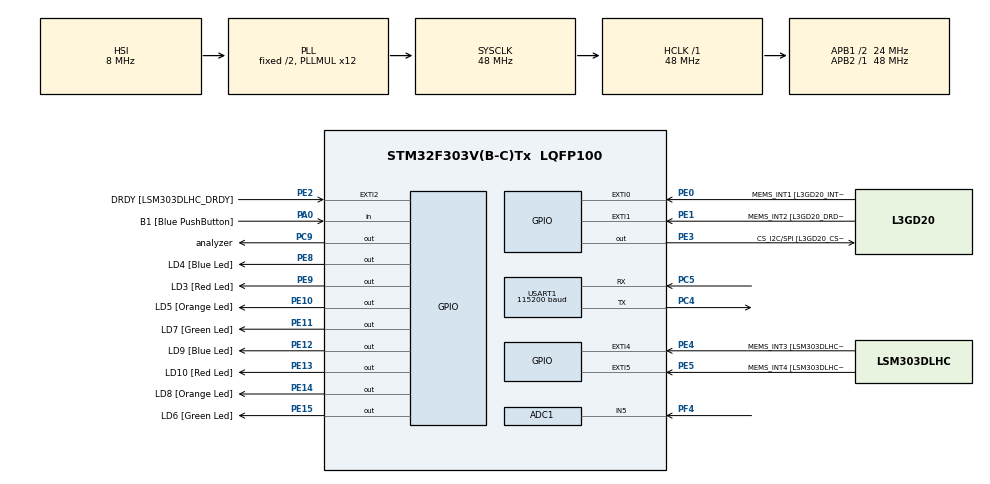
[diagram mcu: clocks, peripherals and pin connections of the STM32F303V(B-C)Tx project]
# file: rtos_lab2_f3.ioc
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ADC1.Channel-0\#ChannelRegularConversion=ADC_CHANNEL_TEMPSENSOR
ADC1.Channel-1\#ChannelRegularConversion=ADC_CHANNEL_5
ADC1.ContinuousConvMode=DISABLE
ADC1.DiscontinuousConvMode=DISABLE
ADC1.NbrOfConversion=2
ADC1.NbrOfConversionFlag=1
ADC1.Offset-0\#ChannelRegularConversion=0
ADC1.Offset-1\#ChannelRegularConversion=0
ADC1.OffsetNumber-0\#ChannelRegularConversion=ADC_OFFSET_NONE
ADC1.OffsetNumber-1\#ChannelRegularConversion=ADC_OFFSET_NONE
ADC1.Rank-0\#ChannelRegularConversion=1
ADC1.Rank-1\#ChannelRegularConversion=2
ADC1.SamplingTime-0\#ChannelRegularConversion=ADC_SAMPLETIME_2CYCLES_5
ADC1.SamplingTime-1\#ChannelRegularConversion=ADC_SAMPLETIME_2CYCLES_5
ADC1.SamplingTimeOPAMP-1\#ChannelRegularConversion=ADC_SAMPLETIME_19CYCLES_5
ADC1.master=1
FREERTOS.Queues01=dataQueue,10,uint32_t,0,Dynamic,NULL,NULL;UART_queue,10,uint32_t,0,Dynamic,NULL,NULL
FREERTOS.Tasks01=defaultTask,24,128,StartDefaultTask,Default,NULL,Dynamic,NULL,NULL;dataTask,24,128,StartDataTask,Default,NULL,Dynamic,NULL,NULL;UART_task,24,128,StartUART_task,Default,NULL,Dynamic,NULL,NULL
FREERTOS.Timers01=ADCTimer,Callback_ADCTimer,osTimerPeriodic,Default,NULL,Dynamic,NULL
Mcu.Family=STM32F3
Mcu.Name=STM32F303V(B-C)Tx
Mcu.Package=LQFP100
NVIC.PriorityGroup=NVIC_PRIORITYGROUP_4
NVIC.TIM1_UP_TIM16_IRQn=true\:15\:0\:false\:false\:true\:false\:false\:true\:true
NVIC.TimeBase=TIM1_UP_TIM16_IRQn
NVIC.TimeBaseIP=TIM1
PA0.GPIO_Label=B1 [Blue PushButton]
PA0.GPIO_Mode=GPIO_MODE_INPUT
PA0.GPIO_PuPd=GPIO_NOPULL
PA0.Signal=GPIO_Input
PA11.GPIO_Label=DM
PA11.Signal=USB_DM
PA12.GPIO_Label=DP
PA12.Signal=USB_DP
PA13.GPIO_Label=SWDIO
PA13.Signal=SYS_JTMS-SWDIO
PA14.GPIO_Label=SWCLK
PA14.Signal=SYS_JTCK-SWCLK
PA5.GPIO_Label=SPI1_SCK [L3GD20_SCL/SPC]
PA5.GPIO_Mode=GPIO_MODE_AF_PP
PA5.GPIO_PuPd=GPIO_NOPULL
PA5.GPIO_Speed=GPIO_SPEED_FREQ_LOW
PA5.Signal=SPI1_SCK
PA6.GPIO_Label=SPI1_MISO [L3GD20_SA0/SDO]
PA6.GPIO_Mode=GPIO_MODE_AF_PP
PA6.GPIO_PuPd=GPIO_NOPULL
PA6.GPIO_Speed=GPIO_SPEED_FREQ_LOW
PA6.Signal=SPI1_MISO
PA7.GPIO_Label=SPI1_MISO [L3GD20_SDA/SDI/SDO]
PA7.GPIO_Mode=GPIO_MODE_AF_PP
PA7.GPIO_PuPd=GPIO_NOPULL
PA7.GPIO_Speed=GPIO_SPEED_FREQ_LOW
PA7.Signal=SPI1_MOSI
PB3.GPIO_Label=SWO
PB3.Signal=SYS_JTDO-TRACESWO
PB6.GPIO_FM6=__NULL
PB6.GPIO_Label=I2C1_SCL [LSM303DLHC_SCL]
PB6.GPIO_Mode=GPIO_MODE_AF_OD
PB6.GPIO_PuPd=GPIO_NOPULL
PB6.GPIO_Speed=GPIO_SPEED_FREQ_LOW
PB6.Signal=I2C1_SCL
PB7.GPIO_FM7=__NULL
PB7.GPIO_Label=I2C1_SDA [LSM303DLHC_SDA]
PB7.GPIO_Mode=GPIO_MODE_AF_OD
PB7.GPIO_PuPd=GPIO_NOPULL
PB7.GPIO_Speed=GPIO_SPEED_FREQ_LOW
PB7.Signal=I2C1_SDA
PC14-OSC32_IN.GPIO_Label=OSC32_IN
PC14-OSC32_IN.Signal=RCC_OSC32_IN
PC15-OSC32_OUT.GPIO_Label=OSC32_OUT
PC15-OSC32_OUT.Signal=RCC_OSC32_OUT
PC4.Mode=Asynchronous
PC4.Signal=USART1_TX
PC5.Mode=Asynchronous
PC5.Signal=USART1_RX
PC9.GPIO_Label=analyzer
PC9.Signal=GPIO_Output
PE0.GPIO_Label=MEMS_INT1 [L3GD20_INT1]
PE0.GPIO_ModeDefaultEXTI=GPIO_MODE_EVT_RISING
PE0.GPIO_PuPd=GPIO_NOPULL
PE0.Signal=GPXTI0
PE1.GPIO_Label=MEMS_INT2 [L3GD20_DRDY/INT2]
PE1.GPIO_ModeDefaultEXTI=GPIO_MODE_EVT_RISING
PE1.GPIO_PuPd=GPIO_NOPULL
PE1.Signal=GPXTI1
PE10.GPIO_Label=LD5 [Orange Led]
PE10.GPIO_ModeDefaultOutputPP=GPIO_MODE_OUTPUT_PP
PE10.GPIO_PuPd=GPIO_NOPULL
PE10.GPIO_Speed=GPIO_SPEED_FREQ_LOW
PE10.Signal=GPIO_Output
PE11.GPIO_Label=LD7 [Green Led]
PE11.GPIO_ModeDefaultOutputPP=GPIO_MODE_OUTPUT_PP
PE11.GPIO_PuPd=GPIO_NOPULL
PE11.GPIO_Speed=GPIO_SPEED_FREQ_LOW
PE11.Signal=GPIO_Output
PE12.GPIO_Label=LD9 [Blue Led]
PE12.GPIO_ModeDefaultOutputPP=GPIO_MODE_OUTPUT_PP
PE12.GPIO_PuPd=GPIO_NOPULL
PE12.GPIO_Speed=GPIO_SPEED_FREQ_LOW
PE12.Signal=GPIO_Output
PE13.GPIO_Label=LD10 [Red Led]
PE13.GPIO_ModeDefaultOutputPP=GPIO_MODE_OUTPUT_PP
PE13.GPIO_PuPd=GPIO_NOPULL
PE13.GPIO_Speed=GPIO_SPEED_FREQ_LOW
PE13.Signal=GPIO_Output
PE14.GPIO_Label=LD8 [Orange Led]
PE14.GPIO_ModeDefaultOutputPP=GPIO_MODE_OUTPUT_PP
PE14.GPIO_PuPd=GPIO_NOPULL
PE14.GPIO_Speed=GPIO_SPEED_FREQ_LOW
PE14.Signal=GPIO_Output
PE15.GPIO_Label=LD6 [Green Led]
PE15.GPIO_ModeDefaultOutputPP=GPIO_MODE_OUTPUT_PP
PE15.GPIO_PuPd=GPIO_NOPULL
PE15.GPIO_Speed=GPIO_SPEED_FREQ_LOW
PE15.Signal=GPIO_Output
PE2.GPIO_Label=DRDY [LSM303DLHC_DRDY]
PE2.GPIO_ModeDefaultEXTI=GPIO_MODE_EVT_RISING
PE2.GPIO_PuPd=GPIO_NOPULL
PE2.Signal=GPXTI2
PE3.GPIO_Label=CS_I2C/SPI [L3GD20_CS_I2C/SPI]
PE3.GPIO_ModeDefaultOutputPP=GPIO_MODE_OUTPUT_PP
PE3.GPIO_PuPd=GPIO_NOPULL
PE3.GPIO_Speed=GPIO_SPEED_FREQ_LOW
PE3.Signal=GPIO_Output
PE4.GPIO_Label=MEMS_INT3 [LSM303DLHC_INT1]
PE4.GPIO_ModeDefaultEXTI=GPIO_MODE_EVT_RISING
PE4.GPIO_PuPd=GPIO_NOPULL
PE4.Signal=GPXTI4
PE5.GPIO_Label=MEMS_INT4 [LSM303DLHC_INT2]
PE5.GPIO_ModeDefaultEXTI=GPIO_MODE_EVT_RISING
PE5.GPIO_PuPd=GPIO_NOPULL
PE5.Signal=GPXTI5
PE8.GPIO_Label=LD4 [Blue Led]
PE8.GPIO_ModeDefaultOutputPP=GPIO_MODE_OUTPUT_PP
PE8.GPIO_PuPd=GPIO_NOPULL
PE8.GPIO_Speed=GPIO_SPEED_FREQ_LOW
PE8.Signal=GPIO_Output
PE9.GPIO_Label=LD3 [Red Led]
PE9.GPIO_ModeDefaultOutputPP=GPIO_MODE_OUTPUT_PP
PE9.GPIO_PuPd=GPIO_NOPULL
PE9.GPIO_Speed=GPIO_SPEED_FREQ_LOW
PE9.Signal=GPIO_Output
PF0-OSC_IN.GPIO_Label=OSC_IN
PF0-OSC_IN.Signal=RCC_OSC_IN
PF1-OSC_OUT.GPIO_Label=OSC_OUT
PF1-OSC_OUT.Signal=RCC_OSC_OUT
PF4.Mode=IN5-Single-Ended
PF4.Signal=ADC1_IN5
ProjectManager.HeapSize=0x200
ProjectManager.StackSize=0x400
ProjectManager.TargetToolchain=STM32CubeIDE
RCC.AHBFreq_Value=48000000
RCC.APB1CLKDivider=RCC_HCLK_DIV2
RCC.APB1Freq_Value=24000000
RCC.APB1TimFreq_Value=48000000
RCC.APB2Freq_Value=48000000
RCC.APB2TimFreq_Value=48000000
RCC.CortexFreq_Value=48000000
RCC.HCLKFreq_Value=48000000
RCC.HSE_VALUE=8000000
RCC.HSI_VALUE=8000000
RCC.LSE_VALUE=32768
RCC.PLLMUL=RCC_PLL_MUL12
RCC.SYSCLKFreq_VALUE=48000000
RCC.SYSCLKSourceVirtual=RCC_SYSCLKSOURCE_PLLCLK
RCC.USBFreq_Value=48000000
STMicroelectronics.X-CUBE-ALGOBUILD.1.3.0.LibraryCcDSPOoLibraryJjDSPOoLibrary=true
USART1.BaudRate=115200
USART1.VirtualMode-Asynchronous=VM_ASYNC
VP_ADC1_TempSens_Input.Mode=IN-TempSens
VP_FREERTOS_VS_CMSIS_V2.Mode=CMSIS_V2
VP_STMicroelectronics.X-CUBE-ALGOBUILD_VS_DSPOoLibraryJjLibrary_1.3.0_1.3.0.Mode=DSPOoLibraryJjLibrary
VP_SYS_VS_tim1.Mode=TIM1
board=STM32F3DISCOVERY

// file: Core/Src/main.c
/* USER CODE BEGIN Header */
/**
  ******************************************************************************
  * @file           : main.c
  * @brief          : Main program body
  ******************************************************************************
  * @attention
  *
  * Copyright (c) 2023 STMicroelectronics.
  * All rights reserved.
  *
  * This software is licensed under terms that can be found in the LICENSE file
  * in the root directory of this software component.
  * If no LICENSE file comes with this software, it is provided AS-IS.
  *
  ******************************************************************************
  */
/* USER CODE END Header */
#include "main.h"
#include "cmsis_os.h"
#include "adc.h"
#include "usart.h"
#include "gpio.h"

void SystemClock_Config(void);
void MX_FREERTOS_Init(void);

/* USER CODE BEGIN 0 */
#ifdef __GNUC__
#define PUTCHAR_PROTOTYPE int __io_putchar(int ch)
#else
#define PUTCHAR_PROTOTYPE int fputc(int ch, FILE *f)
#endif

PUTCHAR_PROTOTYPE
{
  HAL_UART_Transmit(&huart1, (uint8_t *)&ch, 1, 10);
  return ch;
}
/* USER CODE END 0 */

int main(void)
{

  /* MCU Configuration--------------------------------------------------------*/

  /* Reset of all peripherals, Initializes the Flash interface and the Systick. */
  HAL_Init();

  /* Configure the system clock */
  SystemClock_Config();

  /* Initialize all configured peripherals */
  MX_GPIO_Init();
  MX_ADC1_Init();
  MX_USART1_UART_Init();

  /* Init scheduler */
  osKernelInitialize();  /* Call init function for freertos objects (in freertos.c) */
  MX_FREERTOS_Init();

  /* Start scheduler */
  osKernelStart();

  /* We should never get here as control is now taken by the scheduler */
  /* Infinite loop */
  while (1)
  {

  }
}

void SystemClock_Config(void)
{
  RCC_OscInitTypeDef RCC_OscInitStruct = {0};
  RCC_ClkInitTypeDef RCC_ClkInitStruct = {0};
  RCC_PeriphCLKInitTypeDef PeriphClkInit = {0};

  /** Initializes the RCC Oscillators according to the specified parameters
  * in the RCC_OscInitTypeDef structure.
  */
  RCC_OscInitStruct.OscillatorType = RCC_OSCILLATORTYPE_HSI;
  RCC_OscInitStruct.HSIState = RCC_HSI_ON;
  RCC_OscInitStruct.HSICalibrationValue = RCC_HSICALIBRATION_DEFAULT;
  RCC_OscInitStruct.PLL.PLLState = RCC_PLL_ON;
  RCC_OscInitStruct.PLL.PLLSource = RCC_PLLSOURCE_HSI;
  RCC_OscInitStruct.PLL.PLLMUL = RCC_PLL_MUL12;
  if (HAL_RCC_OscConfig(&RCC_OscInitStruct) != HAL_OK)
  {
    Error_Handler();
  }

  /** Initializes the CPU, AHB and APB buses clocks
  */
  RCC_ClkInitStruct.ClockType = RCC_CLOCKTYPE_HCLK|RCC_CLOCKTYPE_SYSCLK
                              |RCC_CLOCKTYPE_PCLK1|RCC_CLOCKTYPE_PCLK2;
  RCC_ClkInitStruct.SYSCLKSource = RCC_SYSCLKSOURCE_PLLCLK;
  RCC_ClkInitStruct.AHBCLKDivider = RCC_SYSCLK_DIV1;
  RCC_ClkInitStruct.APB1CLKDivider = RCC_HCLK_DIV2;
  RCC_ClkInitStruct.APB2CLKDivider = RCC_HCLK_DIV1;

  if (HAL_RCC_ClockConfig(&RCC_ClkInitStruct, FLASH_LATENCY_1) != HAL_OK)
  {
    Error_Handler();
  }
  PeriphClkInit.PeriphClockSelection = RCC_PERIPHCLK_USART1|RCC_PERIPHCLK_ADC12;
  PeriphClkInit.Usart1ClockSelection = RCC_USART1CLKSOURCE_PCLK2;
  PeriphClkInit.Adc12ClockSelection = RCC_ADC12PLLCLK_DIV1;
  if (HAL_RCCEx_PeriphCLKConfig(&PeriphClkInit) != HAL_OK)
  {
    Error_Handler();
  }
}

void HAL_TIM_PeriodElapsedCallback(TIM_HandleTypeDef *htim)
{
  if (htim->Instance == TIM1) {
    HAL_IncTick();
  }
}

void Error_Handler(void)
{
  __disable_irq();
  while (1)
  {
  }
}

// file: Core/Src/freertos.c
/* USER CODE BEGIN Header */
/**
  ******************************************************************************
  * File Name          : freertos.c
  * Description        : Code for freertos applications
  ******************************************************************************
  * @attention
  *
  * Copyright (c) 2023 STMicroelectronics.
  * All rights reserved.
  *
  * This software is licensed under terms that can be found in the LICENSE file
  * in the root directory of this software component.
  * If no LICENSE file comes with this software, it is provided AS-IS.
  *
  ******************************************************************************
  */
/* USER CODE END Header */

#include "FreeRTOS.h"
#include "task.h"
#include "main.h"
#include "cmsis_os.h"

/* USER CODE BEGIN Includes */
#include "adc.h"
/* USER CODE END Includes */

/* USER CODE BEGIN Variables */
dataStruct measuredData;
dataStruct rcvMessage;
uint16_t average;
/* USER CODE END Variables */
/* Definitions for defaultTask */
osThreadId_t defaultTaskHandle;
const osThreadAttr_t defaultTask_attributes = {
  .name = "defaultTask",
  .stack_size = 128 * 4,
  .priority = (osPriority_t) osPriorityNormal,
};
/* Definitions for dataTask */
osThreadId_t dataTaskHandle;
const osThreadAttr_t dataTask_attributes = {
  .name = "dataTask",
  .stack_size = 128 * 4,
  .priority = (osPriority_t) osPriorityNormal,
};
/* Definitions for UART_task */
osThreadId_t UART_taskHandle;
const osThreadAttr_t UART_task_attributes = {
  .name = "UART_task",
  .stack_size = 128 * 4,
  .priority = (osPriority_t) osPriorityNormal,
};
/* Definitions for dataQueue */
osMessageQueueId_t dataQueueHandle;
const osMessageQueueAttr_t dataQueue_attributes = {
  .name = "dataQueue"
};
/* Definitions for UART_queue */
osMessageQueueId_t UART_queueHandle;
const osMessageQueueAttr_t UART_queue_attributes = {
  .name = "UART_queue"
};
/* Definitions for ADCTimer */
osTimerId_t ADCTimerHandle;
const osTimerAttr_t ADCTimer_attributes = {
  .name = "ADCTimer"
};

void StartDefaultTask(void *argument);
void StartDataTask(void *argument);
void StartUART_task(void *argument);
void Callback_ADCTimer(void *argument);

void MX_FREERTOS_Init(void); /* (MISRA C 2004 rule 8.1) */

void MX_FREERTOS_Init(void) {

  /* Create the timer(s) */
  /* creation of ADCTimer */
  ADCTimerHandle = osTimerNew(Callback_ADCTimer, osTimerPeriodic, NULL, &ADCTimer_attributes);

  /* USER CODE BEGIN RTOS_TIMERS */
  /* start timers, add new ones, ... */
  osTimerStart(ADCTimerHandle, 1000);
  /* USER CODE END RTOS_TIMERS */

  /* Create the queue(s) */
  /* creation of dataQueue */
  dataQueueHandle = osMessageQueueNew (10, sizeof(uint32_t), &dataQueue_attributes);

  /* creation of UART_queue */
  UART_queueHandle = osMessageQueueNew (10, sizeof(uint32_t), &UART_queue_attributes);

  /* Create the thread(s) */
  /* creation of defaultTask */
  defaultTaskHandle = osThreadNew(StartDefaultTask, NULL, &defaultTask_attributes);

  /* creation of dataTask */
  dataTaskHandle = osThreadNew(StartDataTask, NULL, &dataTask_attributes);

  /* creation of UART_task */
  UART_taskHandle = osThreadNew(StartUART_task, NULL, &UART_task_attributes);

}

void StartDefaultTask(void *argument)
{
  for(;;)
  {
    osDelay(1);
  }
}

void StartDataTask(void *argument)
{
  /* USER CODE BEGIN StartDataTask */
  uint32_t count = 0;
  uint32_t sum = 0;
  /* Infinite loop */
  for(;;)
  {
	if (osMessageQueueGetCount(dataQueueHandle) != 0)
	{
		HAL_GPIO_WritePin(analyzer_GPIO_Port, analyzer_Pin, GPIO_PIN_SET);
		osMessageQueueGet(dataQueueHandle, &rcvMessage, 0, 0);
		sum += rcvMessage.tempValue;
		count++;
		average = sum/count;
		osMessageQueuePut(UART_queueHandle, &average, 0, 0);
		HAL_GPIO_WritePin(analyzer_GPIO_Port, analyzer_Pin, GPIO_PIN_RESET);
	}
    osDelay(1);
  }
  /* USER CODE END StartDataTask */
}

void StartUART_task(void *argument)
{
  /* USER CODE BEGIN StartUART_task */
  uint16_t dataToPrint;
  /* Infinite loop */
  for(;;)
  {
	if (osMessageQueueGetCount(UART_queueHandle) != 0)
	{
	  osMessageQueueGet(UART_queueHandle, &dataToPrint, 0, 0);
	  printf("average temp: %d\n\r", dataToPrint);
	}
    osDelay(1);
  }
  /* USER CODE END StartUART_task */
}

/* Callback_ADCTimer function */
void Callback_ADCTimer(void *argument)
{
  /* USER CODE BEGIN Callback_ADCTimer */
  uint16_t tempRaw = 0;
  uint16_t freqRaw = 0;
  float avg_slope = 4.3;
  uint16_t V25 = 1430;

  HAL_ADC_Start(&hadc1);

  HAL_ADC_PollForConversion(&hadc1, 1);
  tempRaw = HAL_ADC_GetValue(&hadc1);
  measuredData.tempValue = (uint16_t)((V25 - tempRaw) / avg_slope) + 25;

  HAL_ADC_PollForConversion(&hadc1, 1);
  freqRaw = HAL_ADC_GetValue(&hadc1);
  measuredData.freqValue = freqRaw;

  HAL_ADC_Stop(&hadc1);

  osMessageQueuePut(dataQueueHandle, &measuredData, 0, 0);
  /* USER CODE END Callback_ADCTimer */
}
